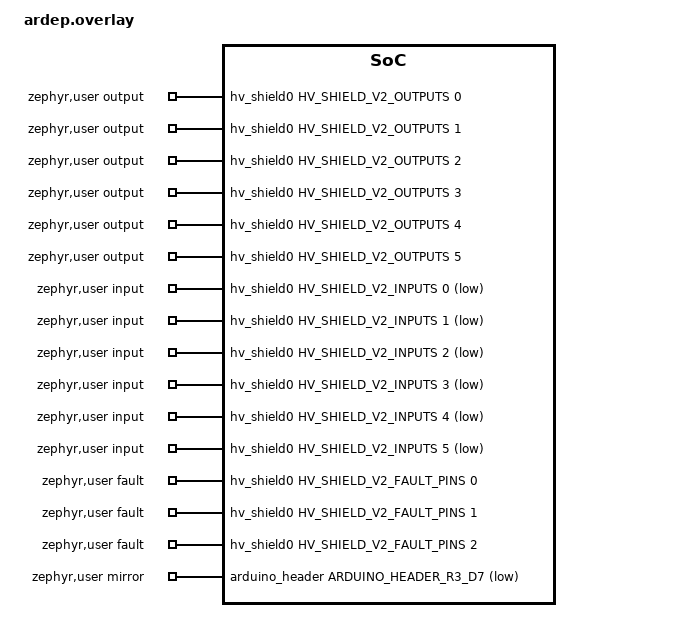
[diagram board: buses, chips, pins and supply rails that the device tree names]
#include <ardep/dt-bindings/hv-shield-v2.h>
#include <zephyr/dt-bindings/gpio/arduino-header-r3.h>

/ {
  zephyr,user{
    output-gpios = <&hv_shield0 HV_SHIELD_V2_OUTPUTS 0 0>,
                   <&hv_shield0 HV_SHIELD_V2_OUTPUTS 1 0>,
                   <&hv_shield0 HV_SHIELD_V2_OUTPUTS 2 0>,
                   <&hv_shield0 HV_SHIELD_V2_OUTPUTS 3 0>,
                   <&hv_shield0 HV_SHIELD_V2_OUTPUTS 4 0>,
                   <&hv_shield0 HV_SHIELD_V2_OUTPUTS 5 0>;

    input-gpios = <&hv_shield0 HV_SHIELD_V2_INPUTS 0 GPIO_ACTIVE_LOW>,
                  <&hv_shield0 HV_SHIELD_V2_INPUTS 1 GPIO_ACTIVE_LOW>,
                  <&hv_shield0 HV_SHIELD_V2_INPUTS 2 GPIO_ACTIVE_LOW>,
                  <&hv_shield0 HV_SHIELD_V2_INPUTS 3 GPIO_ACTIVE_LOW>,
                  <&hv_shield0 HV_SHIELD_V2_INPUTS 4 GPIO_ACTIVE_LOW>,
                  <&hv_shield0 HV_SHIELD_V2_INPUTS 5 GPIO_ACTIVE_LOW>;

    fault-gpios = <&hv_shield0 HV_SHIELD_V2_FAULT_PINS 0 0>,
                  <&hv_shield0 HV_SHIELD_V2_FAULT_PINS 1 0>,
                  <&hv_shield0 HV_SHIELD_V2_FAULT_PINS 2 0>;

    mirror-gpios = <&arduino_header ARDUINO_HEADER_R3_D7 (GPIO_PULL_UP | GPIO_ACTIVE_LOW)>;
  };
};
